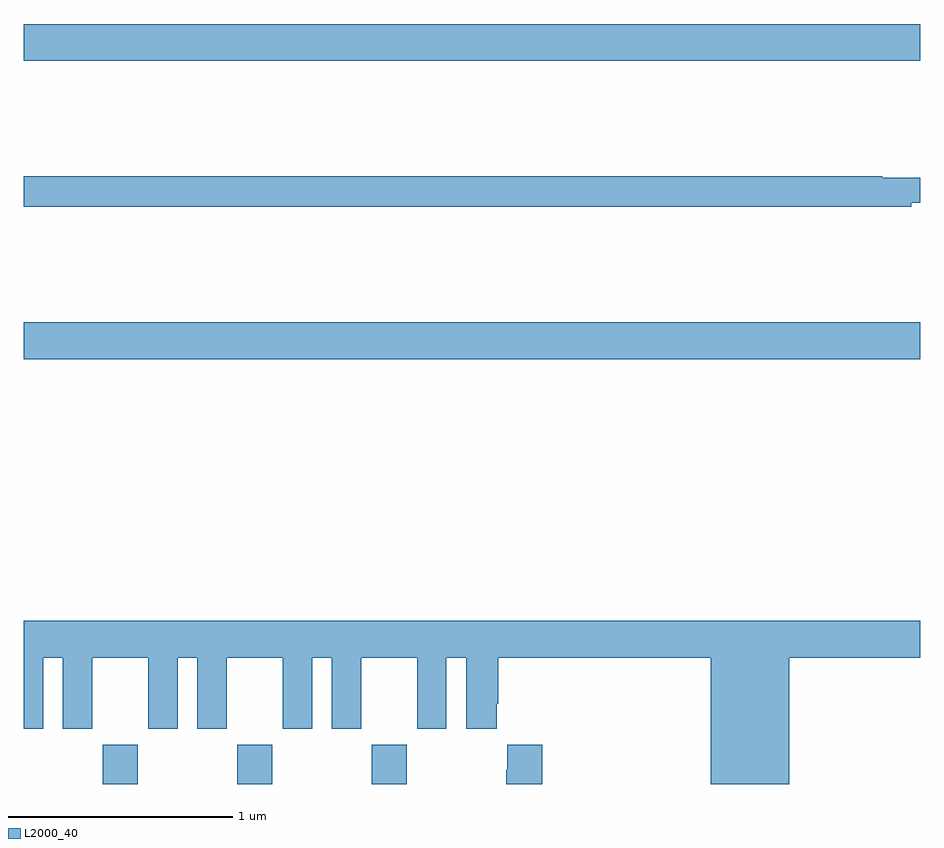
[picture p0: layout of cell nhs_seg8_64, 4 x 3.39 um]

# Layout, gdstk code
import gdstk
lib = gdstk.Library(unit=1e-6, precision=1e-09)
def R(c, l, rs):  # rectangles x0, y0, x1, y1
    for r in rs: c.add(gdstk.rectangle(r[:2], r[2:], *l))
def A(c, l, x, y, w, h, nx, ny, dx, dy):  # array of equal rectangles
    R(c, l, [(x+i*dx, y+j*dy, x+i*dx+w, y+j*dy+h) for i in range(nx) for j in range(ny)])
def P(c, l, *ps):  # polygons
    for p in ps: c.add(gdstk.Polygon(p, *l))
L2000_40 = (2000, 40)

nhs_seg8_64 = lib.new_cell('nhs_seg8_64')
A(nhs_seg8_64, L2000_40, 113.353, 1151.9, 0.155, 0.176, 3, 1, 0.6, 0)
R(nhs_seg8_64, L2000_40, [(113,1153.796,117,1153.96), (113,1155.128,117,1155.292)])
P(nhs_seg8_64, L2000_40, [(116.96,1154.495),(117,1154.495),(117,1154.605),(116.831,1154.605),(116.831,1154.612),(113,1154.612),(113,1154.476),(116.96,1154.476)],
  [(116.416,1152.464),(117,1152.464),(117,1152.628),(113,1152.628),(113,1152.147),(113.086,1152.147),(113.086,1152.464),(113.174,1152.464),(113.174,1152.147),(113.305,1152.147),(113.305,1152.464),(113.555,1152.464),(113.555,1152.147),(113.686,1152.147),(113.686,1152.464),(113.774,1152.464),(113.774,1152.147),(113.905,1152.147),(113.905,1152.464),(114.155,1152.464),(114.155,1152.147),(114.286,1152.147),(114.286,1152.464),(114.374,1152.464),(114.374,1152.147),(114.505,1152.147),(114.505,1152.464),(114.755,1152.464),(114.755,1152.147),(114.886,1152.147),(114.886,1152.464),(114.974,1152.464),(114.974,1152.147),(115.111,1152.147),(115.111,1152.259),(115.118,1152.259),(115.118,1152.464),(116.066,1152.464),(116.066,1151.9),(116.416,1151.9)],
  [(115.313,1152.076),(115.157,1152.076),(115.157,1151.963),(115.153,1151.963),(115.153,1151.9),(115.313,1151.9)])

lib.write_gds('nhs_seg8_64.gds')
